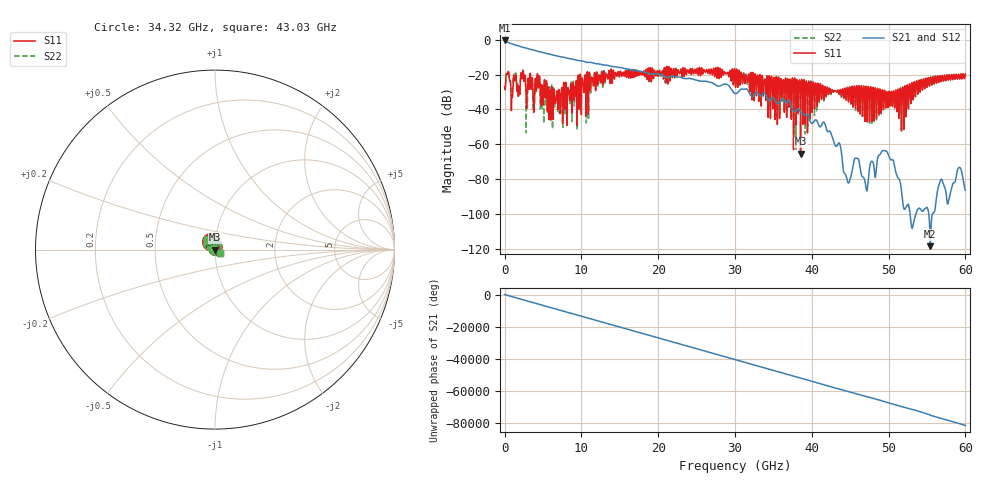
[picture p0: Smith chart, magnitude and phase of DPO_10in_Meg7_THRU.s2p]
# GHz S RI R 100
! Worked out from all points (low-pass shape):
!   6000 points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, 10 MHz to 60 GHz, reference 100 ohm
!   highest |S21| = -0.43 dB at 10 MHz (marker M1); lowest = -118.6 dB at 55.44 GHz (marker M2)
!   |S21| within 3 dB of the highest: start of sweep to 1.727 GHz
!   lowest |S11| = -65.5 dB at 38.54 GHz (marker M3), VSWR 1.00, Z = 100 + j0.0934 ohm
!   |S11| at or under -10 dB: start of sweep to end of sweep
!   |S22| runs from -63.0 to -15.4 dB; largest |S21 - S12| = 1.1e-16
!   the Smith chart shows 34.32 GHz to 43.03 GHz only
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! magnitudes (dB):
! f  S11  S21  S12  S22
! 10 MHz  -26.9  -0.4  -0.4  -27.0
! 1.8 GHz  -32.5  -3.5  -3.5  -32.3
! 2.39 GHz  -17.8  -4.4  -4.4  -17.4
! 2.97 GHz  -29.9  -5.0  -5.0  -39.3
! 4.29 GHz  -19.6  -6.7  -6.7  -19.7
! 4.89 GHz  -26.7  -7.2  -7.2  -38.8
! 7.13 GHz  -30.6  -9.7  -9.7  -36.7
! 10.01 GHz  -38.2  -12.1  -12.1  -30.5
! 20.01 GHz  -21.0  -19.8  -19.8  -20.3
! 30.01 GHz  -19.7  -30.8  -30.8  -21.7
! 38.54 GHz  -65.5  -41.4  -41.4  -40.2
! 40.01 GHz  -31.3  -48.0  -48.0  -31.1
! 43.57 GHz  -31.3  -59.3  -59.3  -32.1
! 44.75 GHz  -33.7  -82.2  -82.2  -33.4
! 45.78 GHz  -28.5  -68.2  -68.2  -28.9
! 47.09 GHz  -27.1  -85.9  -85.9  -27.1
! 49.02 GHz  -42.0  -64.8  -64.8  -42.6
! 50.01 GHz  -30.9  -66.8  -66.8  -30.6
! 51.43 GHz  -33.1  -80.6  -80.6  -33.2
! 55.44 GHz  -21.8  -118.6  -118.6  -21.8
! 59.21 GHz  -21.7  -73.3  -73.3  -21.7
! 60 GHz  -19.6  -86.5  -86.5  -19.6
